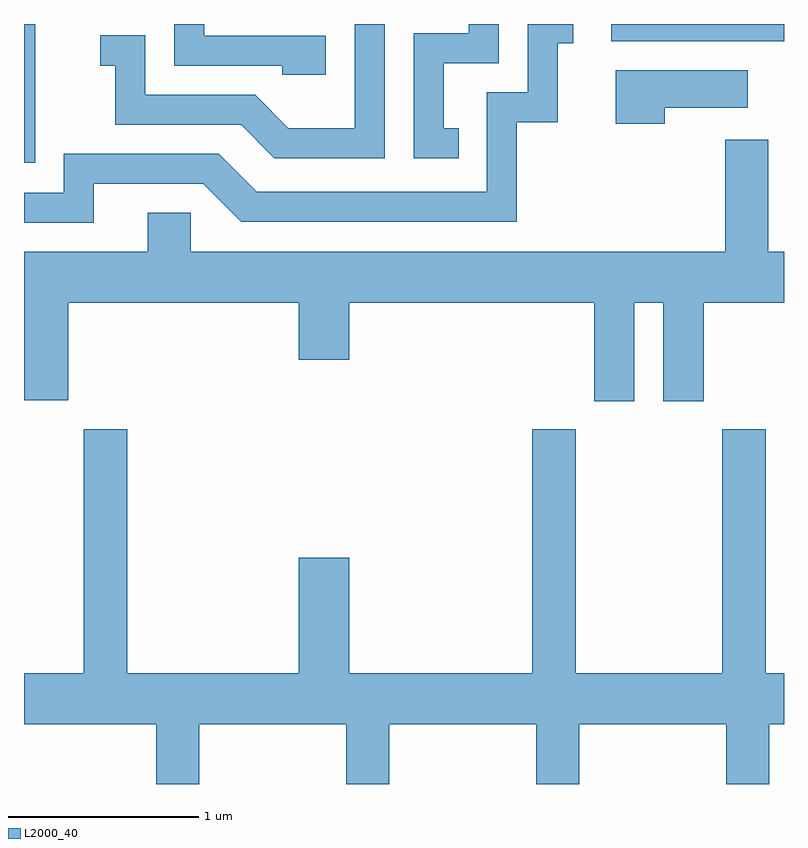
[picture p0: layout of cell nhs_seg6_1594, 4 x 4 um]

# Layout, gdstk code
import gdstk
lib = gdstk.Library(unit=1e-6, precision=1e-09)
def R(c, l, rs):  # rectangles x0, y0, x1, y1
    for r in rs: c.add(gdstk.rectangle(r[:2], r[2:], *l))
def P(c, l, *ps):  # polygons
    for p in ps: c.add(gdstk.Polygon(p, *l))
L2000_40 = (2000, 40)

nhs_seg6_1594 = lib.new_cell('nhs_seg6_1594')
R(nhs_seg6_1594, L2000_40, [(233.611,1557.431,233.669,1558.162), (236.703,1558.071,237.611,1558.162)])
P(nhs_seg6_1594, L2000_40, [(235.509,1558.162),(235.351,1558.162),(235.351,1557.614),(235.002,1557.614),(234.827,1557.789),(234.249,1557.789),(234.249,1558.104),(234.013,1558.104),(234.013,1557.941),(234.091,1557.941),(234.091,1557.631),(234.754,1557.631),(234.929,1557.456),(235.509,1557.456)],
  [(235.898,1557.614),(235.819,1557.614),(235.819,1557.956),(236.109,1557.956),(236.109,1558.162),(235.951,1558.162),(235.951,1558.114),(235.661,1558.114),(235.661,1557.456),(235.898,1557.456)],
  [(235.199,1558.099),(234.559,1558.099),(234.559,1558.162),(234.401,1558.162),(234.401,1557.941),(234.971,1557.941),(234.971,1557.896),(235.199,1557.896)],
  [(233.979,1557.321),(234.554,1557.321),(234.754,1557.121),(236.204,1557.121),(236.204,1557.646),(236.419,1557.646),(236.419,1558.061),(236.503,1558.061),(236.503,1558.162),(236.261,1558.162),(236.261,1557.804),(236.046,1557.804),(236.046,1557.279),(234.837,1557.279),(234.637,1557.479),(233.821,1557.479),(233.821,1557.274),(233.611,1557.274),(233.611,1557.116),(233.979,1557.116)],
  [(236.984,1557.721),(237.419,1557.721),(237.419,1557.919),(236.726,1557.919),(236.726,1557.636),(236.984,1557.636)],
  [(236.824,1556.696),(236.976,1556.696),(236.976,1556.176),(237.189,1556.176),(237.189,1556.696),(237.611,1556.696),(237.611,1556.964),(237.529,1556.964),(237.529,1557.554),(237.301,1557.554),(237.301,1556.964),(234.489,1556.964),(234.489,1557.169),(234.261,1557.169),(234.261,1556.964),(233.611,1556.964),(233.611,1556.181),(233.844,1556.181),(233.844,1556.696),(235.056,1556.696),(235.056,1556.396),(235.324,1556.396),(235.324,1556.696),(236.611,1556.696),(236.611,1556.176),(236.824,1556.176)],
  [(234.534,1554.476),(235.306,1554.476),(235.306,1554.162),(235.534,1554.162),(235.534,1554.476),(236.306,1554.476),(236.306,1554.162),(236.534,1554.162),(236.534,1554.476),(237.306,1554.476),(237.306,1554.162),(237.534,1554.162),(237.534,1554.476),(237.611,1554.476),(237.611,1554.744),(237.514,1554.744),(237.514,1556.029),(237.286,1556.029),(237.286,1554.744),(236.514,1554.744),(236.514,1556.029),(236.286,1556.029),(236.286,1554.744),(235.324,1554.744),(235.324,1555.354),(235.056,1555.354),(235.056,1554.744),(234.154,1554.744),(234.154,1556.029),(233.926,1556.029),(233.926,1554.744),(233.611,1554.744),(233.611,1554.476),(234.306,1554.476),(234.306,1554.162),(234.534,1554.162)])

lib.write_gds('nhs_seg6_1594.gds')
